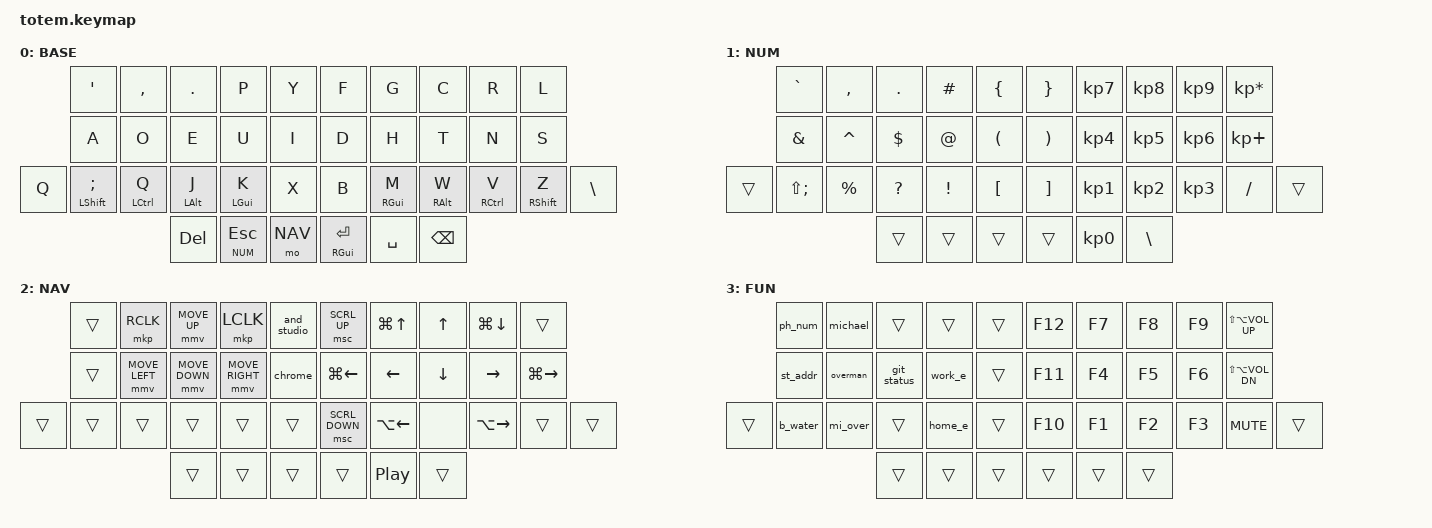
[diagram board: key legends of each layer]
//
//                                                        ▀▀▀▀▀     ▀▀▀▀▀          ▀▀█▀▀
//                                                        ▄▀▀▀▄  ▄  ▄▀▀▀▄  ▄  ▄▀▀▀▄  █  ▄▀▀▀▄
//                                                        █   █  █  █   █  █  █   █  █  █   █
//                                                         ▀▀▀   █   ▀▀▀   █   ▀▀▀   ▀   ▀▀▀
//                                                               █      ▄▄▄█▄▄▄    █   █  
//                                                               ▀      █  █  █     █▄█
//                                                             ▀▀▀▀▀    █  █  █      ▀
//                                                                      ▀  ▀  ▀
//
// ▄▄▄▄▄▄▄▄▄▄▄▄▄▄▄▄▄▄▄▄▄▄▄▄▄▄▄▄▄▄▄▄▄▄▄▄▄▄▄▄▄▄▄▄▄▄▄▄▄▄▄▄▄▄▄▄▄▄▄▄▄▄▄▄▄▄▄▄▄▄▄▄▄▄▄▄▄▄▄▄▄▄▄▄▄▄▄▄▄▄▄▄▄▄▄▄▄▄▄▄▄▄▄▄▄▄▄▄▄▄▄▄▄▄▄▄▄▄▄▄▄▄▄▄▄▄▄▄▄▄▄▄▄▄▄▄▄▄▄▄▄▄▄▄▄▄▄▄▄
       

#include <behaviors.dtsi>
#include <dt-bindings/zmk/keys.h>
#include <dt-bindings/zmk/bt.h>
#include <dt-bindings/zmk/outputs.h>
#include <dt-bindings/zmk/mouse.h> 

#define BASE 0
#define NUM  1
#define NAV  2
#define FUN  3

&mt {
  quick-tap-ms = <100>;
  global-quick-tap;
  flavor = "tap-preferred";
  tapping-term-ms = <170>;
};

/ {
	combos {
		compatible = "zmk,combos";
		
		// Basic shortcuts
		combo_capslock {
			timeout-ms = <50>;
			key-positions = <23 24>; // Q, J
			bindings = <&kp CAPS>;
		};
		
		combo_tab {
			timeout-ms = <50>;
			key-positions = <2 3>; // COMMA, DOT
			bindings = <&kp TAB>;
		};
		
		// Tab navigation
		combo_cmd_tab {
			timeout-ms = <50>;
			key-positions = <4 3>; // P, DOT
			bindings = <&kp LG(TAB)>;
		};
		
		combo_ctl_tab {
			timeout-ms = <50>;
			key-positions = <4 5>; // P, Y
			bindings = <&kp LC(TAB)>;
		};
		
		combo_nexttab {
			timeout-ms = <50>;
			key-positions = <5 3>; // Y, DOT
			bindings = <&kp LC(TAB)>;
		};
		
		combo_prevtab {
			timeout-ms = <50>;
			key-positions = <4 2>; // P, COMMA
			bindings = <&kp LS(LC(TAB))>;
		};
		
		// Window management
		combo_nextwin {
			timeout-ms = <50>;
			key-positions = <15 13>; // I, E
			bindings = <&kp LG(GRAVE)>;
		};
		
		combo_prevwin {
			timeout-ms = <50>;
			key-positions = <12 14>; // O, U
			bindings = <&kp LS(LG(GRAVE))>;
		};
		
		// Desktop switching
		combo_nextdesk {
			timeout-ms = <50>;
			key-positions = <24 26>; // J, X
			bindings = <&kp LC(RIGHT)>;
		};
		
		combo_prevdesk {
			timeout-ms = <50>;
			key-positions = <23 25>; // Q, K
			bindings = <&kp LC(LEFT)>;
		};
		
		// Symbols (active on all layers)
		combo_hyphen {
			timeout-ms = <50>;
			key-positions = <18 19>; // T, N
			bindings = <&kp MINUS>;
		};
		
		combo_underscore {
			timeout-ms = <50>;
			key-positions = <29 30>; // W, V
			bindings = <&kp UNDER>;
		};
		
		combo_equals {
			timeout-ms = <50>;
			key-positions = <8 9>; // C, R
			bindings = <&kp EQUAL>;
		};
		
		// Chrome navigation
		combo_chrback {
			timeout-ms = <50>;
			key-positions = <6 8>; // F, C
			bindings = <&kp LG(LBKT)>;
		};
		
		combo_chrforw {
			timeout-ms = <50>;
			key-positions = <7 9>; // G, R
			bindings = <&kp LG(RBKT)>;
		};
		
		combo_tilde {
			timeout-ms = <50>;
			key-positions = <11 12>; // A, O
			bindings = <&kp TILDE>;
		};
		
		combo_pipe {
			timeout-ms = <50>;
			key-positions = <7 17>; // G, H
			bindings = <&kp PIPE>;
		};
		
		// Edit commands
		combo_undo {
			timeout-ms = <50>;
			key-positions = <29 28>; // W, M
			bindings = <&kp LG(Z)>;
		};
		
		combo_selectall {
			timeout-ms = <50>;
			key-positions = <27 28>; // B, M
			bindings = <&kp LG(A)>;
		};
		
		combo_copy {
			timeout-ms = <50>;
			key-positions = <6 7>; // F, G
			bindings = <&kp LG(C)>;
		};
		
		combo_paste {
			timeout-ms = <50>;
			key-positions = <16 17>; // D, H
			bindings = <&kp LG(V)>;
		};
		
		// Android Studio shortcuts
		combo_as_terminal {
			timeout-ms = <50>;
			key-positions = <6 16>; // F, D
			bindings = <&kp LA(F12)>;
		};
		
		combo_as_logcat {
			timeout-ms = <50>;
			key-positions = <10 20>; // L, S
			bindings = <&kp LA(F11)>;
		};
		
		combo_as_run {
			timeout-ms = <50>;
			key-positions = <8 18>; // C, T
			bindings = <&kp LS(F10)>;
		};
		
		combo_as_lineup {
			timeout-ms = <50>;
			key-positions = <13 14>; // E, U
			bindings = <&kp LS(LG(UP))>;
		};
		
		combo_as_linedown {
			timeout-ms = <50>;
			key-positions = <24 25>; // J, K
			bindings = <&kp LS(LG(DOWN))>;
		};
		
		// Delete operations
		combo_delete {
			timeout-ms = <50>;
			key-positions = <17 18>; // H, T
			bindings = <&kp BSPC>;
		};
		
		combo_fordelete {
			timeout-ms = <50>;
			key-positions = <7 8>; // G, C
			bindings = <&kp DEL>;
		};
		
		combo_slash {
			timeout-ms = <50>;
			key-positions = <16 27>; // D, B
			bindings = <&kp LG(FSLH)>;
		};
		
		combo_comment {
			timeout-ms = <50>;
			key-positions = <17 28>; // H, M
			bindings = <&kp FSLH>;
		};
		
		combo_point {
			timeout-ms = <50>;
			key-positions = <28 29>; // 1, 2 positions on NUM layer
			bindings = <&kp DOT>;
			layers = <1>; // Only on NUM layer
		};
		
		// NAV layer specific combos
		combo_deleteword {
			timeout-ms = <50>;
			key-positions = <17 18>; // LEFT, DOWN positions on NAV layer
			bindings = <&kp LA(BSPC)>;
			layers = <2>; // Only on NAV layer
		};
		
		combo_delforward {
			timeout-ms = <50>;
			key-positions = <18 19>; // DOWN, RIGHT positions on NAV layer
			bindings = <&kp LA(DEL)>;
			layers = <2>; // Only on NAV layer
		};
	};

    macros {
        ph_num: ph_num {
			compatible = "zmk,behavior-macro";
			#binding-cells = <0>;
			bindings = <&kp N5 &kp N4 &kp N0 &kp N7 &kp N4 &kp N6 &kp N8 &kp N7 &kp N6 &kp N5>;
		};
		
		michael: michael {
			compatible = "zmk,behavior-macro";
			#binding-cells = <0>;
			bindings = <&kp LS(M) &kp I &kp C &kp H &kp A &kp E &kp L>;
		};
		
		overman: overman {
			compatible = "zmk,behavior-macro";
			#binding-cells = <0>;
			bindings = <&kp LS(O) &kp V &kp E &kp R &kp M &kp A &kp N>;
		};
		
		mi_over: mi_over {
			compatible = "zmk,behavior-macro";
			#binding-cells = <0>;
			bindings = <&kp LS(M) &kp I &kp C &kp H &kp A &kp E &kp L &kp SPACE &kp LS(O) &kp V &kp E &kp R &kp M &kp A &kp N>;
		};
		
		st_addr: st_addr {
			compatible = "zmk,behavior-macro";
			#binding-cells = <0>;
			bindings = <&kp N2 &kp N1 &kp N0 &kp N6 &kp SPACE &kp LS(M) &kp O &kp U &kp N &kp T &kp SPACE &kp LS(C) &kp R &kp A &kp W &kp F &kp O &kp R &kp D &kp SPACE &kp LS(A) &kp V &kp E>;
		};
		
		b_water: b_water {
			compatible = "zmk,behavior-macro";
			#binding-cells = <0>;
			bindings = <&kp LS(B) &kp R &kp I &kp D &kp G &kp E &kp W &kp A &kp T &kp E &kp R>;
		};
		
		work_e: work_e {
			compatible = "zmk,behavior-macro";
			#binding-cells = <0>;
			bindings = <&kp M &kp I &kp C &kp H &kp A &kp E &kp L &kp AT &kp R &kp E &kp L &kp O &kp C &kp I &kp T &kp Y &kp DOT &kp C &kp O &kp M>;
		};
		
		home_e: home_e {
			compatible = "zmk,behavior-macro";
			#binding-cells = <0>;
			bindings = <&kp O &kp V &kp E &kp R &kp M &kp A &kp N &kp DOT &kp M &kp I &kp C &kp H &kp A &kp E &kp L &kp AT &kp G &kp M &kp A &kp I &kp L &kp DOT &kp C &kp O &kp M>;
		};

		git_status: git_status {
			compatible = "zmk,behavior-macro";
			#binding-cells = <0>;
			bindings = <&kp G &kp I &kp T &kp SPACE &kp S &kp T &kp A &kp T &kp U &kp S>;
		};

		and_studio: and_studio {
			compatible = "zmk,behavior-macro";
			#binding-cells = <0>;
			bindings = <&kp LG(SPACE) &macro_wait_time 100 &kp A &kp N &kp D &kp R &kp O &kp I &kp D &macro_wait_time 100 &kp ENTER>;
		};
		
		chrome: chrome {
			compatible = "zmk,behavior-macro";
			#binding-cells = <0>;
			bindings = <&kp LG(SPACE) &macro_wait_time 100 &kp C &kp H &kp R &kp O &kp M &kp E &macro_wait_time 100 &kp ENTER>;
		};
	};

        keymap {
                compatible = "zmk,keymap";
// ▄▄▄▄▄▄▄▄▄▄▄▄▄▄▄▄▄▄▄▄▄▄▄▄▄▄▄▄▄▄▄▄▄▄▄▄▄▄▄▄▄▄▄▄▄▄▄▄▄▄▄▄▄▄▄▄▄▄▄▄▄▄▄▄▄▄▄▄▄▄▄▄▄▄▄▄▄▄▄▄▄▄▄▄▄▄▄▄▄▄▄▄▄▄▄▄▄▄▄▄▄▄▄▄▄▄▄▄▄▄▄▄▄▄▄▄▄▄▄▄▄▄▄▄▄▄▄▄▄▄▄▄▄▄▄▄▄▄▄▄▄▄▄▄▄▄▄▄▄

                base_layer {
// ┏━━━━━━━━━━━━━━━━━━━━━━━━━━━━━━━━━━━━━━━┓
label= "BASE"                              ;
// ┗━━━━━━━━━━━━━━━━━━━━━━━━━━━━━━━━━━━━━━━┛
//             ┏━━━━━━━━━━━┳━━━━━━━━━━━┳━━━━━━━━━━━┳━━━━━━━━━━━┳━━━━━━━━━━━┓   ┏━━━━━━━━━━━┳━━━━━━━━━━━┳━━━━━━━━━━━┳━━━━━━━━━━━┳━━━━━━━━━━━┓
//             ┃     '     ┃     ,     ┃     .     ┃     P     ┃     Y     ┃   ┃     F     ┃     G     ┃     C     ┃     R     ┃     L     ┃
//             ┣━━━━━━━━━━━╋━━━━━━━━━━━╋━━━━━━━━━━━╋━━━━━━━━━━━╋━━━━━━━━━━━┫   ┣━━━━━━━━━━━╋━━━━━━━━━━━╋━━━━━━━━━━━╋━━━━━━━━━━━╋━━━━━━━━━━━┫
//             ┃     A     ┃     O     ┃     E     ┃     U     ┃     I     ┃   ┃     D     ┃     H     ┃     T     ┃     N     ┃     S     ┃
// ┏━━━━━━━━━━━╋━━━━━━━━━━━╋━━━━━━━━━━━╋━━━━━━━━━━━╋━━━━━━━━━━━╋━━━━━━━━━━━┫   ┣━━━━━━━━━━━╋━━━━━━━━━━━╋━━━━━━━━━━━╋━━━━━━━━━━━╋━━━━━━━━━━━╋━━━━━━━━━━━┓
// ┃     Q     ┃     ;     ┃     Q     ┃     J     ┃     K     ┃     X     ┃   ┃     B     ┃     M     ┃     W     ┃     V     ┃     Z     ┃     \     ┃
// ┗━━━━━━━━━━━┻━━━━━━━━━━━┻━━━━━━━━━━━╋━━━━━━━━━━━╋━━━━━━━━━━━╋━━━━━━━━━━━┫   ┣━━━━━━━━━━━╋━━━━━━━━━━━╋━━━━━━━━━━━╋━━━━━━━━━━━┻━━━━━━━━━━━┻━━━━━━━━━━━┛
//                                     ┃    DEL    ┃    NUM    ┃    NAV    ┃   ┃   ENTER   ┃           ┃   BSPC    ┃
//                                     ┗━━━━━━━━━━━┻━━━━━━━━━━━┻━━━━━━━━━━━┛   ┗━━━━━━━━━━━┻━━━━━━━━━━━┻━━━━━━━━━━━┛
 bindings = <
// ╷           ╷           ╷           ╷           ╷           ╷           ╷   ╷           ╷           ╷           ╷           ╷           ╷           ╷

                &kp SQT     &kp COMMA   &kp DOT     &kp P       &kp Y           &kp F       &kp G       &kp C       &kp R       &kp L
                &kp A       &kp O       &kp E       &kp U       &kp I           &kp D       &kp H       &kp T       &kp N       &kp S
    &kp Q    &mt LSHFT SEMI &mt LCTRL Q &mt LALT J  &mt LGUI K  &kp X           &kp B       &mt RGUI M  &mt RALT W  &mt RCTRL V &mt RSHFT Z &kp BSLH
                                        &kp DEL     &lt NUM ESC &mo NAV        &mt RGUI RET &kp SPACE   &kp BSPC
                        >;
                };

// ▄▄▄▄▄▄▄▄▄▄▄▄▄▄▄▄▄▄▄▄▄▄▄▄▄▄▄▄▄▄▄▄▄▄▄▄▄▄▄▄▄▄▄▄▄▄▄▄▄▄▄▄▄▄▄▄▄▄▄▄▄▄▄▄▄▄▄▄▄▄▄▄▄▄▄▄▄▄▄▄▄▄▄▄▄▄▄▄▄▄▄▄▄▄▄▄▄▄▄▄▄▄▄▄▄▄▄▄▄▄▄▄▄▄▄▄▄▄▄▄▄▄▄▄▄▄▄▄▄▄▄▄▄▄▄▄▄▄▄▄▄▄▄▄▄▄▄▄▄


                num_layer {
// ┏━━━━━━━━━━━━━━━━━━━━━━━━━━━━━━━━━━━━━━━┓
label= "NUM"                              ;
// ┗━━━━━━━━━━━━━━━━━━━━━━━━━━━━━━━━━━━━━━━┛
//             ┏━━━━━━━━━━━┳━━━━━━━━━━━┳━━━━━━━━━━━┳━━━━━━━━━━━┳━━━━━━━━━━━┓   ┏━━━━━━━━━━━┳━━━━━━━━━━━┳━━━━━━━━━━━┳━━━━━━━━━━━┳━━━━━━━━━━━┓
//             ┃     `     ┃     ,     ┃     .     ┃     #     ┃     {     ┃   ┃     }     ┃     7     ┃     8     ┃     9     ┃     *     ┃
//             ┣━━━━━━━━━━━╋━━━━━━━━━━━╋━━━━━━━━━━━╋━━━━━━━━━━━╋━━━━━━━━━━━┫   ┣━━━━━━━━━━━╋━━━━━━━━━━━╋━━━━━━━━━━━╋━━━━━━━━━━━╋━━━━━━━━━━━┫
//             ┃     &     ┃     ^     ┃     $     ┃     @     ┃     (     ┃   ┃     )     ┃     4     ┃     5     ┃     6     ┃     +     ┃
// ┏━━━━━━━━━━━╋━━━━━━━━━━━╋━━━━━━━━━━━╋━━━━━━━━━━━╋━━━━━━━━━━━╋━━━━━━━━━━━┫   ┣━━━━━━━━━━━╋━━━━━━━━━━━╋━━━━━━━━━━━╋━━━━━━━━━━━╋━━━━━━━━━━━╋━━━━━━━━━━━┓
// ┃           ┃     :     ┃     %     ┃     ?     ┃     !     ┃     [     ┃   ┃     ]     ┃     1     ┃     2     ┃     3     ┃     /     ┃           ┃
// ┗━━━━━━━━━━━┻━━━━━━━━━━━┻━━━━━━━━━━━╋━━━━━━━━━━━╋━━━━━━━━━━━╋━━━━━━━━━━━┫   ┣━━━━━━━━━━━╋━━━━━━━━━━━╋━━━━━━━━━━━╋━━━━━━━━━━━┻━━━━━━━━━━━┻━━━━━━━━━━━┛
//                                     ┃           ┃           ┃           ┃   ┃           ┃     0     ┃     \     ┃
//                                     ┗━━━━━━━━━━━┻━━━━━━━━━━━┻━━━━━━━━━━━┛   ┗━━━━━━━━━━━┻━━━━━━━━━━━┻━━━━━━━━━━━┛
 bindings = <
// ╷           ╷           ╷           ╷           ╷           ╷           ╷   ╷           ╷           ╷           ╷           ╷           ╷           ╷

                &kp GRAVE   &kp COMMA   &kp DOT     &kp HASH    &kp LBRC        &kp RBRC    &kp KP_N7   &kp KP_N8   &kp KP_N9   &kp KP_MULTIPLY
                &kp AMPS    &kp CARET   &kp DLLR    &kp AT      &kp LPAR        &kp RPAR    &kp KP_N4   &kp KP_N5   &kp KP_N6   &kp KP_PLUS
    &trans     &kp LS(SEMI) &kp PRCNT   &kp QMARK   &kp EXCL    &kp LBKT        &kp RBKT    &kp KP_N1   &kp KP_N2   &kp KP_N3   &kp FSLH    &trans      
                                        &trans      &trans      &trans          &trans      &kp KP_N0   &kp BSLH      
                        >;
                };

// ▄▄▄▄▄▄▄▄▄▄▄▄▄▄▄▄▄▄▄▄▄▄▄▄▄▄▄▄▄▄▄▄▄▄▄▄▄▄▄▄▄▄▄▄▄▄▄▄▄▄▄▄▄▄▄▄▄▄▄▄▄▄▄▄▄▄▄▄▄▄▄▄▄▄▄▄▄▄▄▄▄▄▄▄▄▄▄▄▄▄▄▄▄▄▄▄▄▄▄▄▄▄▄▄▄▄▄▄▄▄▄▄▄▄▄▄▄▄▄▄▄▄▄▄▄▄▄▄▄▄▄▄▄▄▄▄▄▄▄▄▄▄▄▄▄▄▄▄▄


                nav_layer {
// ┏━━━━━━━━━━━━━━━━━━━━━━━━━━━━━━━━━━━━━━━┓
label= "NAV"                               ;
// ┗━━━━━━━━━━━━━━━━━━━━━━━━━━━━━━━━━━━━━━━┛
//             ┏━━━━━━━━━━━┳━━━━━━━━━━━┳━━━━━━━━━━━┳━━━━━━━━━━━┳━━━━━━━━━━━┓   ┏━━━━━━━━━━━┳━━━━━━━━━━━┳━━━━━━━━━━━┳━━━━━━━━━━━┳━━━━━━━━━━━┓
//             ┃           ┃   RCLK    ┃   M_UP    ┃   LCLK    ┃  STUDIO   ┃   ┃   ScUp    ┃   G(UP)   ┃    UP     ┃   G(DN)   ┃           ┃
//             ┣━━━━━━━━━━━╋━━━━━━━━━━━╋━━━━━━━━━━━╋━━━━━━━━━━━╋━━━━━━━━━━━┫   ┣━━━━━━━━━━━╋━━━━━━━━━━━╋━━━━━━━━━━━╋━━━━━━━━━━━╋━━━━━━━━━━━┫
//             ┃           ┃    M_L    ┃   M_DN    ┃    M_R    ┃  CHROME   ┃   ┃   G(L)    ┃   LEFT    ┃   DOWN    ┃  RIGHT    ┃    G(R)   ┃
// ┏━━━━━━━━━━━╋━━━━━━━━━━━╋━━━━━━━━━━━╋━━━━━━━━━━━╋━━━━━━━━━━━╋━━━━━━━━━━━┫   ┣━━━━━━━━━━━╋━━━━━━━━━━━╋━━━━━━━━━━━╋━━━━━━━━━━━╋━━━━━━━━━━━╋━━━━━━━━━━━┓
// ┃           ┃  EMAIL1   ┃  EMAIL2   ┃           ┃           ┃           ┃   ┃   ScDn    ┃   A(L)    ┃   LAST    ┃   A(R)    ┃           ┃           ┃
// ┗━━━━━━━━━━━┻━━━━━━━━━━━┻━━━━━━━━━━━╋━━━━━━━━━━━╋━━━━━━━━━━━╋━━━━━━━━━━━┫   ┣━━━━━━━━━━━╋━━━━━━━━━━━╋━━━━━━━━━━━╋━━━━━━━━━━━┻━━━━━━━━━━━┻━━━━━━━━━━━┛
//                                     ┃           ┃           ┃           ┃   ┃           ┃           ┃           ┃
//                                     ┗━━━━━━━━━━━┻━━━━━━━━━━━┻━━━━━━━━━━━┛   ┗━━━━━━━━━━━┻━━━━━━━━━━━┻━━━━━━━━━━━┛
 bindings = <
// ╷           ╷           ╷           ╷           ╷           ╷           ╷   ╷           ╷           ╷           ╷           ╷           ╷           ╷

                &trans      &mkp RCLK &mmv MOVE_UP  &mkp LCLK   &and_studio    &msc SCRL_UP &kp LG(UP)  &kp UP     &kp LG(DOWN) &trans
                &trans &mmv MOVE_LEFT &mmv MOVE_DOWN &mmv MOVE_RIGHT &chrome   &kp LG(LEFT) &kp LEFT    &kp DOWN   &kp RIGHT    &kp LG(RIGHT)
    &trans      &trans      &trans      &trans      &trans      &trans        &msc SCRL_DOWN &kp LA(LEFT) &none    &kp LA(RIGHT) &trans      &trans         
                                        &trans      &trans      &trans         &trans      &kp C_PP    &trans      
                        >;
                };

// ▄▄▄▄▄▄▄▄▄▄▄▄▄▄▄▄▄▄▄▄▄▄▄▄▄▄▄▄▄▄▄▄▄▄▄▄▄▄▄▄▄▄▄▄▄▄▄▄▄▄▄▄▄▄▄▄▄▄▄▄▄▄▄▄▄▄▄▄▄▄▄▄▄▄▄▄▄▄▄▄▄▄▄▄▄▄▄▄▄▄▄▄▄▄▄▄▄▄▄▄▄▄▄▄▄▄▄▄▄▄▄▄▄▄▄▄▄▄▄▄▄▄▄▄▄▄▄▄▄▄▄▄▄▄▄▄▄▄▄▄▄▄▄▄▄▄▄▄▄


                function_layer {
// ┏━━━━━━━━━━━━━━━━━━━━━━━━━━━━━━━━━━━━━━━┓
label= "FUN"                               ;
// ┗━━━━━━━━━━━━━━━━━━━━━━━━━━━━━━━━━━━━━━━┛
//             ┏━━━━━━━━━━━┳━━━━━━━━━━━┳━━━━━━━━━━━┳━━━━━━━━━━━┳━━━━━━━━━━━┓   ┏━━━━━━━━━━━┳━━━━━━━━━━━┳━━━━━━━━━━━┳━━━━━━━━━━━┳━━━━━━━━━━━┓
//             ┃   PHONE   ┃  MICHAEL  ┃           ┃           ┃           ┃   ┃    F12    ┃    F7     ┃    F8     ┃    F9     ┃  VOL_UP   ┃
//             ┣━━━━━━━━━━━╋━━━━━━━━━━━╋━━━━━━━━━━━╋━━━━━━━━━━━╋━━━━━━━━━━━┫   ┣━━━━━━━━━━━╋━━━━━━━━━━━╋━━━━━━━━━━━╋━━━━━━━━━━━╋━━━━━━━━━━━┫
//             ┃  ST_ADDR  ┃  OVERMAN  ┃ git_status┃   WORK@   ┃           ┃   ┃    F11    ┃    F4     ┃    F5     ┃    F6     ┃  VOL_DN   ┃
// ┏━━━━━━━━━━━╋━━━━━━━━━━━╋━━━━━━━━━━━╋━━━━━━━━━━━╋━━━━━━━━━━━╋━━━━━━━━━━━┫   ┣━━━━━━━━━━━╋━━━━━━━━━━━╋━━━━━━━━━━━╋━━━━━━━━━━━╋━━━━━━━━━━━╋━━━━━━━━━━━┓
// ┃           ┃  BWATER   ┃  MI_OVER  ┃           ┃   HOME@   ┃           ┃   ┃    F10    ┃    F1     ┃    F2     ┃    F3     ┃   MUTE    ┃           ┃
// ┗━━━━━━━━━━━┻━━━━━━━━━━━┻━━━━━━━━━━━╋━━━━━━━━━━━╋━━━━━━━━━━━╋━━━━━━━━━━━┫   ┣━━━━━━━━━━━╋━━━━━━━━━━━╋━━━━━━━━━━━╋━━━━━━━━━━━┻━━━━━━━━━━━┻━━━━━━━━━━━┛
//                                     ┃           ┃           ┃           ┃   ┃           ┃           ┃           ┃
//                                     ┗━━━━━━━━━━━┻━━━━━━━━━━━┻━━━━━━━━━━━┛   ┗━━━━━━━━━━━┻━━━━━━━━━━━┻━━━━━━━━━━━┛
 bindings = <
// ╷           ╷           ╷           ╷           ╷           ╷           ╷   ╷           ╷           ╷           ╷           ╷           ╷           ╷

                &ph_num     &michael    &trans      &trans      &trans          &kp F12     &kp F7      &kp F8      &kp F9      &kp LS(LA(C_VOL_UP))
                &st_addr    &overman    &git_status &work_e     &trans          &kp F11     &kp F4      &kp F5      &kp F6      &kp LS(LA(C_VOL_DN))
    &trans      &b_water    &mi_over    &trans      &home_e     &trans          &kp F10     &kp F1      &kp F2      &kp F3      &kp C_MUTE  &trans         
                                        &trans      &trans      &trans          &trans      &trans      &trans      
                        >;
                };

        };
};
